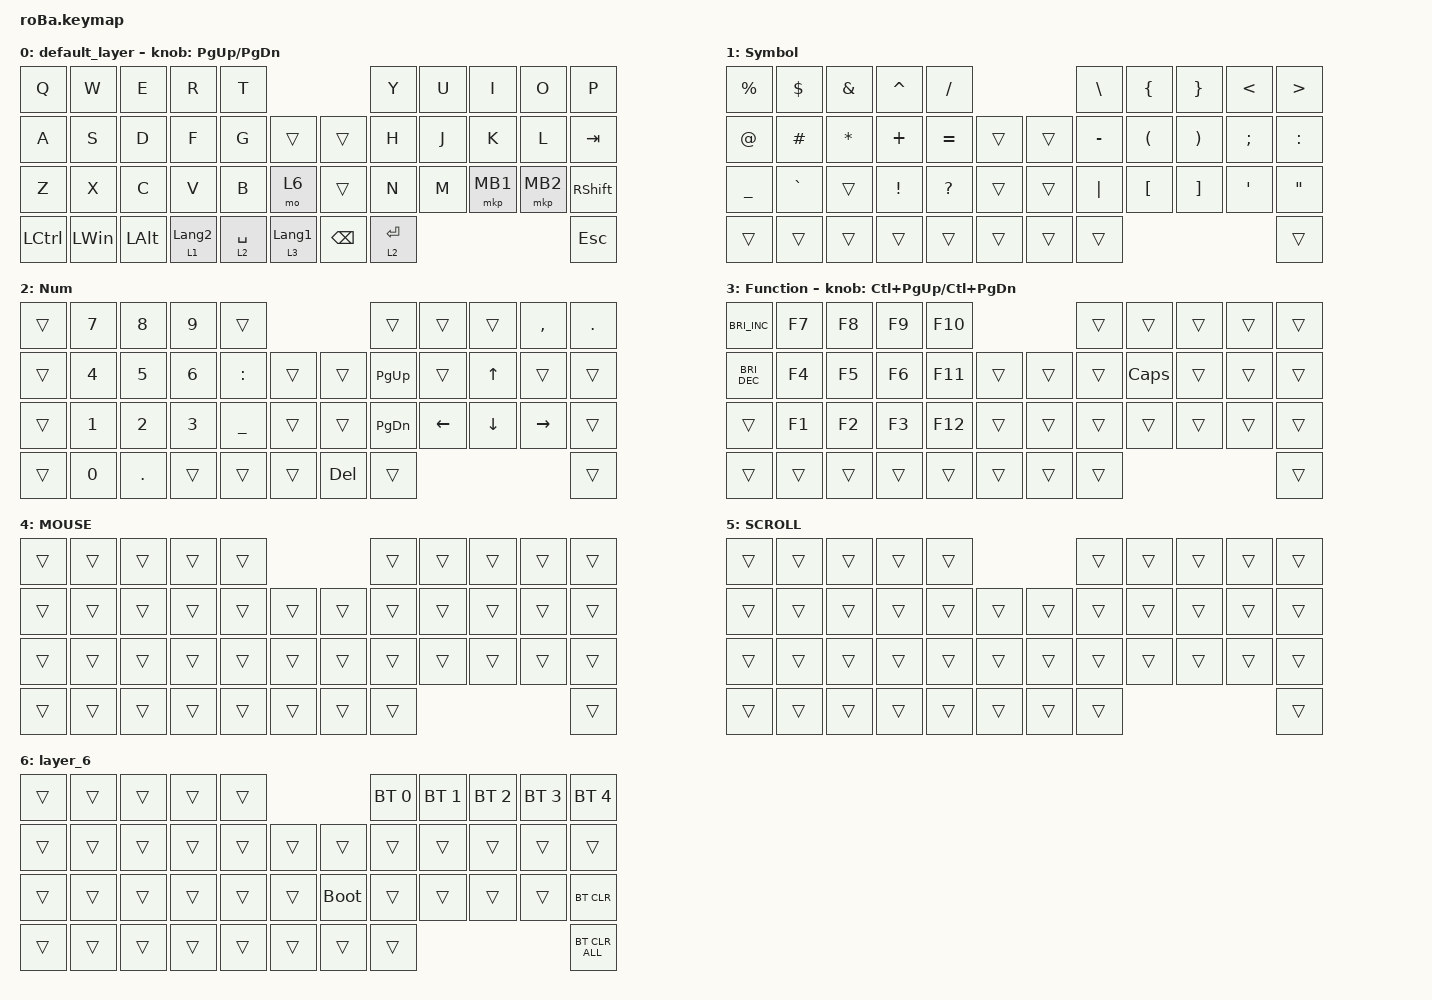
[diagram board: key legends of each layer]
#include <behaviors.dtsi>
#include <dt-bindings/zmk/bt.h>
#include <dt-bindings/zmk/keys.h>
#include <dt-bindings/zmk/pointing.h>

&mt {
    flavor = "balanced";
    quick-tap-ms = <0>;
};

&trackball {
    automouse-layer = <4>;
    scroll-layers = <5>;

    // arrows {
    //     layers = <3>;
    //     bindings =
    //         <&kp RIGHT_ARROW>,
    //         <&kp LEFT_ARROW>,
    //         <&kp UP_ARROW>,
    //         <&kp DOWN_ARROW>;
    //     tick = <10>;
    //     wait-ms = <5>;
    //     tap-ms = <5>;
    // };
};

/ {
    combos {
        compatible = "zmk,combos";

        tab {
            bindings = <&kp TAB>;
            key-positions = <11 12>;
        };

        shift_tab {
            bindings = <&kp LS(TAB)>;
            key-positions = <12 13>;
        };

        muhennkann {
            bindings = <&to_layer_0 INT_MUHENKAN>;
            key-positions = <11 10>;
        };

        double_quotation {
            bindings = <&kp DOUBLE_QUOTES>;
            key-positions = <20 21>;
        };

        eq {
            bindings = <&kp EQUAL>;
            key-positions = <24 25>;
        };
    };

    macros {
        to_layer_0: to_layer_0 {
            compatible = "zmk,behavior-macro-one-param";
            #binding-cells = <1>;
            bindings = <&to 0 &macro_param_1to1 &kp MACRO_PLACEHOLDER>;
            label = "TO_LAYER_0";
        };
    };

    behaviors {
        lt_to_layer_0: lt_to_layer_0 {
            compatible = "zmk,behavior-hold-tap";
            label = "LAYER_TAP_TO_0";
            bindings = <&mo>, <&to_layer_0>;

            #binding-cells = <2>;
            tapping-term-ms = <200>;
        };
    };

    keymap {
        compatible = "zmk,keymap";

        default_layer {
            bindings = <
&kp Q      &kp W         &kp E         &kp R             &kp T                                             &kp Y        &kp U  &kp I     &kp O     &kp P
&kp A      &kp S         &kp D         &kp F             &kp G        &trans                &trans         &kp H        &kp J  &kp K     &kp L     &kp TAB
&kp Z      &kp X         &kp C         &kp V             &kp B        &mo 6                 &trans         &kp N        &kp M  &mkp MB1  &mkp MB2  &kp RIGHT_SHIFT
&kp LCTRL  &kp LEFT_WIN  &kp LEFT_ALT  &lt 1 LANGUAGE_2  &lt 2 SPACE  &lt 3 LANGUAGE_1      &kp BACKSPACE  &lt 2 ENTER                             &kp ESCAPE
            >;

            sensor-bindings = <&inc_dec_kp PG_UP PAGE_DOWN>;
        };

        Symbol {
            bindings = <
&kp PERCENT     &kp DOLLAR  &kp AMPERSAND  &kp CARET        &kp SLASH                         &kp BACKSLASH  &kp LEFT_BRACE        &kp RIGHT_BRACE        &kp LESS_THAN  &kp GREATER_THAN
&kp AT_SIGN     &kp HASH    &kp ASTERISK   &kp PLUS         &kp EQUAL     &trans      &trans  &kp MINUS      &kp LEFT_PARENTHESIS  &kp RIGHT_PARENTHESIS  &kp SEMICOLON  &kp COLON
&kp UNDERSCORE  &kp GRAVE   &trans         &kp EXCLAMATION  &kp QUESTION  &trans      &trans  &kp PIPE       &kp LEFT_BRACKET      &kp RIGHT_BRACKET      &kp SQT        &kp DOUBLE_QUOTES
&trans          &trans      &trans         &trans           &trans        &trans      &trans  &trans                                                                     &trans
            >;
        };

        Num {
            bindings = <
&trans  &kp N7        &kp N8        &kp N9        &trans                                  &trans         &trans          &trans          &kp COMMA        &kp PERIOD
&trans  &kp NUMBER_4  &kp N5        &kp NUMBER_6  &kp COLON       &trans      &trans      &kp PAGE_UP    &trans          &kp UP_ARROW    &trans           &trans
&trans  &kp NUMBER_1  &kp NUMBER_2  &kp NUMBER_3  &kp UNDERSCORE  &trans      &trans      &kp PAGE_DOWN  &kp LEFT_ARROW  &kp DOWN_ARROW  &kp RIGHT_ARROW  &trans
&trans  &kp N0        &kp PERIOD    &trans        &trans          &trans      &kp DELETE  &trans                                                          &trans
            >;
        };

        Function {
            bindings = <
&kp C_BRIGHTNESS_INC  &kp F7  &kp F8  &kp F9  &kp F10                      &trans  &trans        &trans  &trans  &trans
&kp C_BRIGHTNESS_DEC  &kp F4  &kp F5  &kp F6  &kp F11  &trans      &trans  &trans  &kp CAPSLOCK  &trans  &trans  &trans
&trans                &kp F1  &kp F2  &kp F3  &kp F12  &trans      &trans  &trans  &trans        &trans  &trans  &trans
&trans                &trans  &trans  &trans  &trans   &trans      &trans  &trans                                &trans
            >;

            sensor-bindings = <&inc_dec_kp LC(PAGE_UP) LC(PAGE_DOWN)>;
        };

        MOUSE {
            bindings = <
&trans  &trans  &trans  &trans  &trans                      &trans  &trans  &trans  &trans  &trans
&trans  &trans  &trans  &trans  &trans  &trans      &trans  &trans  &trans  &trans  &trans  &trans
&trans  &trans  &trans  &trans  &trans  &trans      &trans  &trans  &trans  &trans  &trans  &trans
&trans  &trans  &trans  &trans  &trans  &trans      &trans  &trans                          &trans
            >;
        };

        SCROLL {
            bindings = <
&trans  &trans  &trans  &trans  &trans                      &trans  &trans  &trans  &trans  &trans
&trans  &trans  &trans  &trans  &trans  &trans      &trans  &trans  &trans  &trans  &trans  &trans
&trans  &trans  &trans  &trans  &trans  &trans      &trans  &trans  &trans  &trans  &trans  &trans
&trans  &trans  &trans  &trans  &trans  &trans      &trans  &trans                          &trans
            >;
        };

        layer_6 {
            bindings = <
&trans  &trans  &trans  &trans  &trans                           &bt BT_SEL 0  &bt BT_SEL 1  &bt BT_SEL 2  &bt BT_SEL 3  &bt BT_SEL 4
&trans  &trans  &trans  &trans  &trans  &trans      &trans       &trans        &trans        &trans        &trans        &trans
&trans  &trans  &trans  &trans  &trans  &trans      &bootloader  &trans        &trans        &trans        &trans        &bt BT_CLR
&trans  &trans  &trans  &trans  &trans  &trans      &trans       &trans                                                  &bt BT_CLR_ALL
            >;
        };
    };
};
